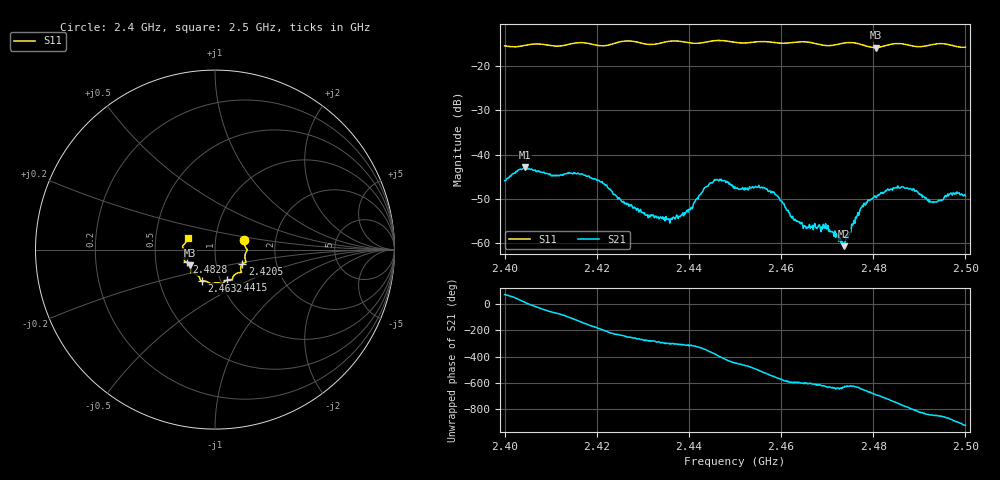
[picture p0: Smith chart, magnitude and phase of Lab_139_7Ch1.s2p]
# Hz S RI R 50
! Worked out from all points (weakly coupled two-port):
!   601 points, 2.4 GHz to 2.5 GHz, reference 50 ohm
!   highest |S21| = -42.94 dB at 2.4043 GHz (marker M1); lowest = -60.8 dB at 2.4737 GHz (marker M2)
!   lowest |S11| = -15.7 dB at 2.4805 GHz (marker M3), VSWR 1.39, Z = 37.3 - j6.7 ohm
!   |S11| at or under -10 dB: start of sweep to end of sweep
!   S12 and S22 are empty: the file has one direction only
!   S11 on the Smith chart (normalised r, x): 2.4 GHz: 1.38, +0.15; 2.4205 GHz: 1.34, -0.22; 2.4415 GHz: 1.07, -0.38; 2.4632 GHz: 0.82, -0.29; 2.4828 GHz: 0.72, -0.10; 2.5 GHz: 0.73, +0.10
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2.4e9  0.1635 0.0519  0.00135 0.00488  0 0  0 0
2.404333e9  0.1729 0.00794  0.00683 0.00205  0 0  0 0
2.416667e9  0.1729 -0.07  -0.00437 -0.00414  0 0  0 0
2.4205e9  0.1519 -0.0816  -0.00506 0.000471  0 0  0 0
2.426e9  0.1477 -0.1257  -0.00127 0.00246  0 0  0 0
2.433333e9  0.1001 -0.1515  0.000495 0.0019  0 0  0 0
2.438e9  0.0938 -0.1688  0.00115 0.00162  0 0  0 0
2.4415e9  0.0658 -0.1707  0.00243 0.00192  0 0  0 0
2.445833e9  0.0414 -0.1923  0.00471 -0.00198  0 0  0 0
2.45e9  0.0242 -0.1862  0.000261 -0.00428  0 0  0 0
2.458e9  -0.0316 -0.1855  -0.00376 0.000445  0 0  0 0
2.463167e9  -0.0731 -0.1739  -0.00103 0.00148  0 0  0 0
2.466667e9  -0.0821 -0.1669  -0.000596 0.00137  0 0  0 0
2.469667e9  -0.0961 -0.1438  -3.88e-05 0.00164  0 0  0 0
2.473667e9  -0.1306 -0.1304  5.37e-05 0.000908  0 0  0 0
2.4775e9  -0.1312 -0.1187  0.000761 0.00239  0 0  0 0
2.4805e9  -0.1386 -0.0874  0.00291 0.00168  0 0  0 0
2.482833e9  -0.1584 -0.0702  0.00387 7.99e-05  0 0  0 0
2.483333e9  -0.1624 -0.0681  0.00395 -0.000376  0 0  0 0
2.488333e9  -0.1663 -0.043  0.000785 -0.00392  0 0  0 0
2.492667e9  -0.1763 0.00725  -0.00171 -0.00233  0 0  0 0
2.5e9  -0.1527 0.0644  -0.00305 0.00145  0 0  0 0
